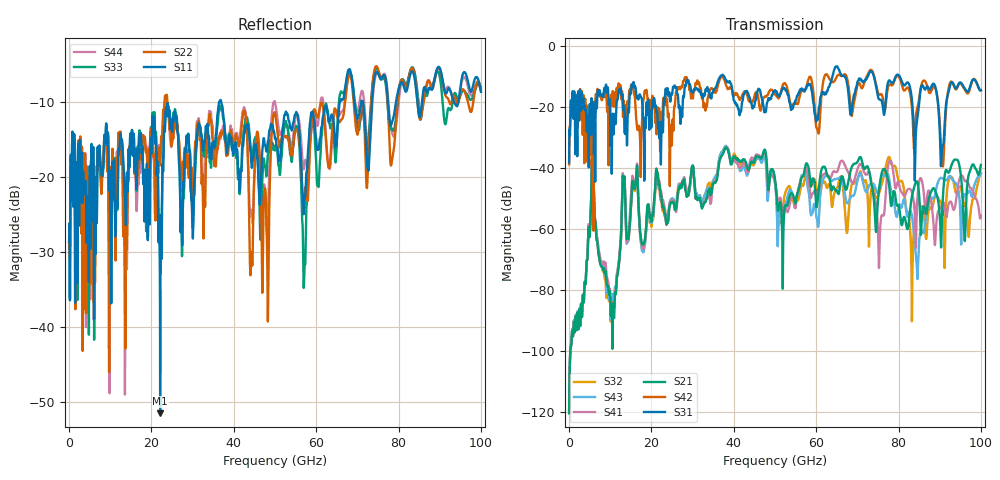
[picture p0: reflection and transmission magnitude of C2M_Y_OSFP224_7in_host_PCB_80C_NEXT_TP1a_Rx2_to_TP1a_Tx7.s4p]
# GHz S RI R 45
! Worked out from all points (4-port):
!   4000 points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, 25 MHz to 100 GHz, reference 45 ohm
!   strongest paths, dB at 25 MHz, 25.02 GHz, 50.02 GHz, 75.03 GHz, 100 GHz:
!     S31: -38.3, -16.0, -14.6, -16.7, -14.7
!     S42: -38.9, -28.8, -16.1, -15.6, -14.6
!     S21: -120.5, -51.3, -43.8, -50.7, -39.1
!     S41: -120.1, -50.7, -44.8, -61.1, -55.7
!     S43: -119.7, -50.1, -45.4, -48.1, -41.8
!     S32: -120.2, -50.4, -44.8, -49.1, -42.0
!   lowest |S11| = -51.6 dB at 22.12 GHz (marker M1), VSWR 1.01, Z = 44.9 + j0.232 ohm
!   |S11| at or under -10 dB: start of sweep to 36.44 GHz; 36.96 GHz to 65.77 GHz (28.82 GHz wide, 56.1 % of centre); 71.4 GHz to 73.58 GHz (2.178 GHz wide, 3 % of centre) (the widest 3 of 7)
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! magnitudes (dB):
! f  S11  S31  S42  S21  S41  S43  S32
! 25 MHz  -28.6  -38.3  -38.9  -120.5  -120.1  -119.7  -120.2
! 5.7 GHz  -23.7  -25.6  -21.0  -37.6  -37.3  -37.4  -37.6
! 10.47 GHz  -18.6  -25.7  -17.1  -90.2  -92.0  -90.5  -91.8
! 22.12 GHz  -51.6  -25.5  -34.7  -48.3  -46.8  -48.1  -49.6
! 77.15 GHz  -8.0  -14.4  -16.4  -42.5  -43.4  -42.0  -38.3
! 84.45 GHz  -9.4  -25.1  -21.0  -44.5  -54.2  -72.9  -51.3
! 100 GHz  -8.6  -14.7  -14.6  -39.1  -55.7  -41.8  -42.0
